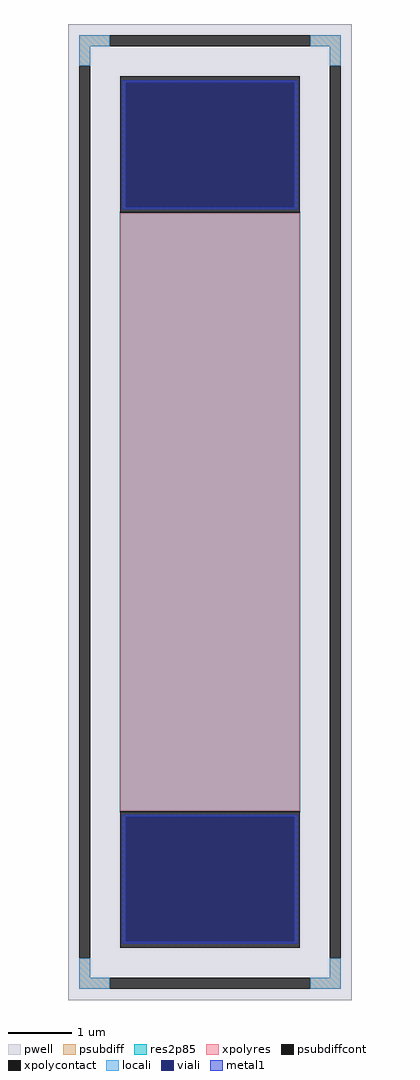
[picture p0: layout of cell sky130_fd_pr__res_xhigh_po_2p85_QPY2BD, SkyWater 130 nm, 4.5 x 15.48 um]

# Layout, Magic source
magic
tech sky130A
<< pwell >>
rect -225 -774 225 774
<< psubdiff >>
rect -207 739 -159 756
rect 159 739 207 756
rect -207 708 -190 739
rect 190 708 207 739
rect -207 -739 -190 -708
rect 190 -739 207 -708
rect -207 -756 -159 -739
rect 159 -756 207 -739
<< psubdiffcont >>
rect -159 739 159 756
rect -207 -708 -190 708
rect 190 -708 207 708
rect -159 -756 159 -739
<< xpolycontact >>
rect -142 475 142 691
rect -142 -691 142 -475
<< xpolyres >>
rect -142 -475 142 475
<< locali >>
rect -207 739 -159 756
rect 159 739 207 756
rect -207 708 -190 739
rect 190 708 207 739
rect -207 -739 -190 -708
rect 190 -739 207 -708
rect -207 -756 -159 -739
rect 159 -756 207 -739
<< viali >>
rect -134 483 134 682
rect -134 -682 134 -483
<< metal1 >>
rect -140 682 140 685
rect -140 483 -134 682
rect 134 483 140 682
rect -140 480 140 483
rect -140 -483 140 -480
rect -140 -682 -134 -483
rect 134 -682 140 -483
rect -140 -685 140 -682
<< res2p85 >>
rect -143 -476 143 476
<< properties >>
string FIXED_BBOX -199 -747 199 747
string gencell sky130_fd_pr__res_xhigh_po_2p85
string library sky130
string parameters w 2.850 l 9.5 m 1 nx 1 wmin 2.850 lmin 0.50 rho 2000 val 6.798k dummy 0 dw 0.0 term 188.2 sterm 0.0 caplen 0 wmax 2.850 guard 1 glc 1 grc 1 gtc 1 gbc 1 compatible {sky130_fd_pr__res_xhigh_po_0p35  sky130_fd_pr__res_xhigh_po_0p69 sky130_fd_pr__res_xhigh_po_1p41  sky130_fd_pr__res_xhigh_po_2p85 sky130_fd_pr__res_xhigh_po_5p73} snake 0 full_metal 1 n_guard 0 hv_guard 0 vias 1 viagb 0 viagt 0 viagl 0 viagr 0
<< end >>
